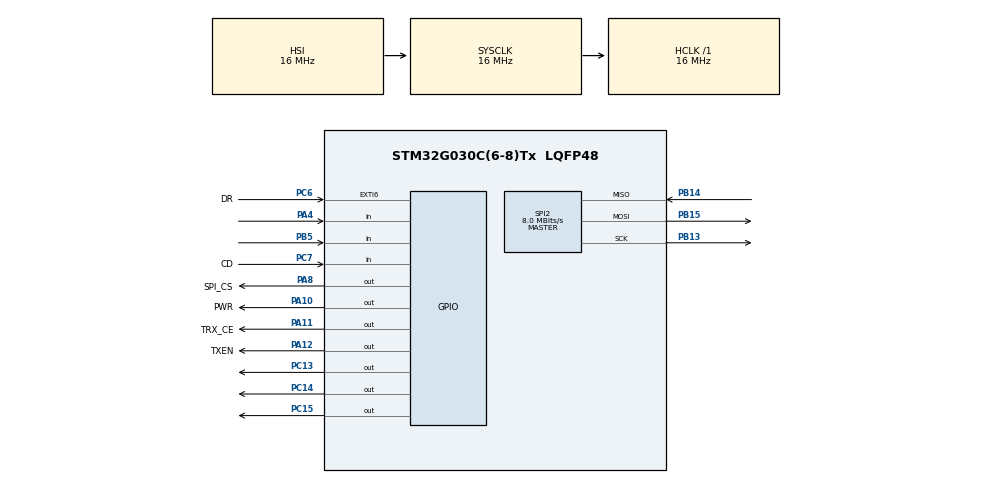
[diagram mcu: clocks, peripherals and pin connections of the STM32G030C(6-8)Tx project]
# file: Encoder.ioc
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Mcu.Family=STM32G0
Mcu.Name=STM32G030C(6-8)Tx
Mcu.Package=LQFP48
NVIC.TIM14_IRQn=true\:0\:0\:false\:false\:true\:true\:true\:true
NVIC.TIM3_IRQn=true\:0\:0\:false\:false\:true\:true\:true\:true
PA10.GPIO_Label=PWR
PA10.Signal=GPIO_Output
PA11\ [PA9].GPIO_Label=TRX_CE
PA11\ [PA9].Signal=GPIO_Output
PA12\ [PA10].GPIO_Label=TXEN
PA12\ [PA10].Signal=GPIO_Output
PA4.Signal=GPIO_Input
PA8.GPIO_Label=SPI_CS
PA8.Signal=GPIO_Output
PB13.Mode=Full_Duplex_Master
PB13.Signal=SPI2_SCK
PB14.Mode=Full_Duplex_Master
PB14.Signal=SPI2_MISO
PB15.Mode=Full_Duplex_Master
PB15.Signal=SPI2_MOSI
PB5.Signal=GPIO_Input
PC13.Signal=GPIO_Output
PC14-OSC32_IN\ (PC14).Signal=GPIO_Output
PC15-OSC32_OUT\ (PC15).Signal=GPIO_Output
PC6.GPIO_Label=DR
PC6.Signal=GPXTI6
PC7.GPIO_Label=CD
PC7.Signal=GPIO_Input
ProjectManager.HeapSize=0x200
ProjectManager.StackSize=0x400
ProjectManager.TargetToolchain=STM32CubeIDE
RCC.AHBFreq_Value=16000000
RCC.CortexFreq_Value=16000000
RCC.EXTERNAL_CLOCK_VALUE=12288000
RCC.HCLKFreq_Value=16000000
RCC.HSE_VALUE=8000000
RCC.HSI_VALUE=16000000
RCC.LSE_VALUE=32768
RCC.SYSCLKFreq_VALUE=16000000
RCC.VCOOutputFreq_Value=128000000
SPI2.CalculateBaudRate=8.0 MBits/s
SPI2.Direction=SPI_DIRECTION_2LINES
SPI2.Mode=SPI_MODE_MASTER
SPI2.VirtualType=VM_MASTER
TIM3.Period=100
TIM3.Prescaler=1600-1
VP_TIM14_VS_ClockSourceINT.Mode=Enable_Timer
VP_TIM3_VS_ClockSourceINT.Mode=Internal
board=custom

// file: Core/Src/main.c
/* USER CODE BEGIN Header */
/* USER CODE END Header */
#include "main.h"
#include "spi.h"
#include "tim.h"
#include "gpio.h"
#include "NRF905.h"
#include <stdbool.h>
#include <stdlib.h>

void SystemClock_Config(void);

/* USER CODE BEGIN 0 */
extern void initialise_monitor_handles(void);
NRF905_hw_t NRF905_hw;
NRF905_t NRF905;

int master=1;

#define NUM_OF_PINS 16

#define RADIO_CHANNEL 1
#define RADIO_ADDRESS 0x12345678

uint32_t nrf905_payload_buffer[NRF905_MAX_PAYLOAD];
uint32_t my_address;
#define ADDRESS_MASTER 0xA2B5D154
uint32_t last_PA4_state = 0;
bool flag = false;

// function to send data
void sendData(uint32_t data) {
  // create an array of 4 elements to store data
  uint8_t dataArray[4];
  // extract the first byte of data (most significant byte)
  dataArray[0] = (data >> 24) & 0xFF;
  // extract the second byte of data
  dataArray[1] = (data >> 16) & 0xFF;
  // extract the third byte of data
  dataArray[2] = (data >> 8) & 0xFF;
  // extract the fourth byte of data (least significant byte)
  dataArray[3] = data & 0xFF;
  // transmit data using NRF905 module
  // parameters: address of the NRF905 object, destination address, data to be transmitted, number of bytes to be transmitted, mode after transmission (NRF905_NEXTMODE_STANDBY for standby mode)
  NRF905_tx(&NRF905, RADIO_ADDRESS, dataArray, 4, NRF905_NEXTMODE_STANDBY);
}

/* USER CODE END 0 */

int main(void)
{

  /* MCU Configuration--------------------------------------------------------*/

  /* Reset of all peripherals, Initializes the Flash interface and the Systick. */
  HAL_Init();

  /* Configure the system clock */
  SystemClock_Config();

  /* Initialize all configured peripherals */
  MX_GPIO_Init();
  MX_TIM3_Init();
  MX_SPI2_Init();
  MX_TIM14_Init();
  /* USER CODE BEGIN 2 */
  HAL_TIM_Base_Start_IT(&htim3);

  // Initialize the random number generator with the unique device ID
  uint32_t uid = 0x00;
    	for (uint8_t i = 0; i < 3; ++i) {
    		uid += (uint32_t) (UID_BASE + i * 4);
    	}
    	srand(uid);

    	// Initialize the NRF905 hardware
    	NRF905_hw.gpio[NRF905_HW_GPIO_TXEN].pin = TXEN_Pin;
    	NRF905_hw.gpio[NRF905_HW_GPIO_TXEN].port = TXEN_GPIO_Port;
    	NRF905_hw.gpio[NRF905_HW_GPIO_TRX_EN].pin = TRX_CE_Pin;
    	NRF905_hw.gpio[NRF905_HW_GPIO_TRX_EN].port = TRX_CE_GPIO_Port;
    	NRF905_hw.gpio[NRF905_HW_GPIO_PWR].pin = PWR_Pin;
    	NRF905_hw.gpio[NRF905_HW_GPIO_PWR].port = PWR_GPIO_Port;

    	NRF905_hw.gpio[NRF905_HW_GPIO_CD].pin = CD_Pin;
    	NRF905_hw.gpio[NRF905_HW_GPIO_CD].port = CD_GPIO_Port;
    	NRF905_hw.gpio[NRF905_HW_GPIO_AM].pin = 0;
    	NRF905_hw.gpio[NRF905_HW_GPIO_AM].port = NULL;
    	NRF905_hw.gpio[NRF905_HW_GPIO_DR].pin = DR_Pin;
    	NRF905_hw.gpio[NRF905_HW_GPIO_DR].port = DR_GPIO_Port;

    	NRF905_hw.gpio[NRF905_HW_GPIO_CS].pin = SPI_CS_Pin;
    	NRF905_hw.gpio[NRF905_HW_GPIO_CS].port = SPI_CS_GPIO_Port;

    	NRF905_hw.tim = &htim14;
    	NRF905_hw.spi = &hspi2;

		// Initialize the NRF905 device
    	NRF905_init(&NRF905, &NRF905_hw);

  /* USER CODE END 2 */

  /* Infinite loop */
  /* USER CODE BEGIN WHILE */
    	// infinite loop
    	while (1) {
    	  // Check if PA4 is pressed
    	  if (HAL_GPIO_ReadPin(GPIOA, GPIO_PIN_4) == GPIO_PIN_RESET) {

    	    // Call the sendData function and pass 0xDEADBEEF as the data to be sent
    	    sendData(0xDEADBEEF);

    	    // Turn on the LED by setting PC13 high
    	    HAL_GPIO_WritePin(GPIOC, GPIO_PIN_13, GPIO_PIN_SET);

    	    // Wait for 0.5 seconds
    	    HAL_Delay(5);

    	    // Turn off the LED by setting PC13 low
    	    HAL_GPIO_WritePin(GPIOC, GPIO_PIN_13, GPIO_PIN_RESET);

    	    // Wait until the button is released
    	    while (HAL_GPIO_ReadPin(GPIOA, GPIO_PIN_4) == GPIO_PIN_RESET) {}
    	  }
    	}
}

void SystemClock_Config(void)
{
  RCC_OscInitTypeDef RCC_OscInitStruct = {0};
  RCC_ClkInitTypeDef RCC_ClkInitStruct = {0};

  /** Configure the main internal regulator output voltage
  */
  HAL_PWREx_ControlVoltageScaling(PWR_REGULATOR_VOLTAGE_SCALE1);

  /** Initializes the RCC Oscillators according to the specified parameters
  * in the RCC_OscInitTypeDef structure.
  */
  RCC_OscInitStruct.OscillatorType = RCC_OSCILLATORTYPE_HSI;
  RCC_OscInitStruct.HSIState = RCC_HSI_ON;
  RCC_OscInitStruct.HSIDiv = RCC_HSI_DIV1;
  RCC_OscInitStruct.HSICalibrationValue = RCC_HSICALIBRATION_DEFAULT;
  RCC_OscInitStruct.PLL.PLLState = RCC_PLL_NONE;
  if (HAL_RCC_OscConfig(&RCC_OscInitStruct) != HAL_OK)
  {
    Error_Handler();
  }

  /** Initializes the CPU, AHB and APB buses clocks
  */
  RCC_ClkInitStruct.ClockType = RCC_CLOCKTYPE_HCLK|RCC_CLOCKTYPE_SYSCLK
                              |RCC_CLOCKTYPE_PCLK1;
  RCC_ClkInitStruct.SYSCLKSource = RCC_SYSCLKSOURCE_HSI;
  RCC_ClkInitStruct.AHBCLKDivider = RCC_SYSCLK_DIV1;
  RCC_ClkInitStruct.APB1CLKDivider = RCC_HCLK_DIV1;

  if (HAL_RCC_ClockConfig(&RCC_ClkInitStruct, FLASH_LATENCY_0) != HAL_OK)
  {
    Error_Handler();
  }
}

/* USER CODE BEGIN 4 */
void HAL_TIM_PeriodElapsedCallback(TIM_HandleTypeDef* htim) {
	 if(htim->Instance == TIM3)
	 {
		flag = true;

	 }
}

/* USER CODE END 4 */

void Error_Handler(void)
{
}
